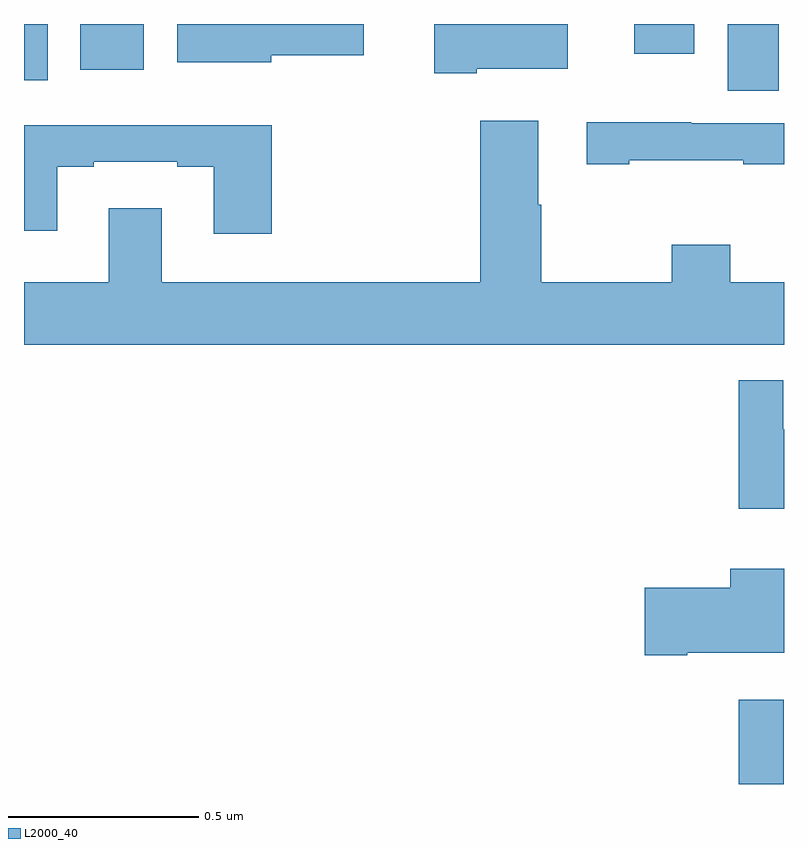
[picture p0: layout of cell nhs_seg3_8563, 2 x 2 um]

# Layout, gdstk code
import gdstk
lib = gdstk.Library(unit=1e-6, precision=1e-09)
def R(c, l, rs):  # rectangles x0, y0, x1, y1
    for r in rs: c.add(gdstk.rectangle(r[:2], r[2:], *l))
def P(c, l, *ps):  # polygons
    for p in ps: c.add(gdstk.Polygon(p, *l))
L2000_40 = (2000, 40)

nhs_seg3_8563 = lib.new_cell('nhs_seg3_8563')
R(nhs_seg3_8563, L2000_40, [(218.881,726.4,218.999,726.622), (218.852,728.224,218.986,728.4), (217,728.252,217.063,728.4), (217.148,728.28,217.315,728.4), (218.606,728.322,218.764,728.4)])
P(nhs_seg3_8563, L2000_40, [(218.191,728.282),(218.431,728.282),(218.431,728.4),(218.079,728.4),(218.079,728.27),(218.191,728.27)],
  [(217.65,728.318),(217.894,728.318),(217.894,728.4),(217.403,728.4),(217.403,728.3),(217.65,728.3)],
  [(219,727.72),(218.859,727.72),(218.859,727.819),(218.704,727.819),(218.704,727.72),(218.361,727.72),(218.361,727.925),(218.353,727.925),(218.353,728.146),(218.201,728.146),(218.201,727.72),(217.363,727.72),(217.363,727.915),(217.223,727.915),(217.223,727.72),(217,727.72),(217,727.556),(219,727.556)],
  [(218.593,728.041),(218.893,728.041),(218.893,728.031),(219,728.031),(219,728.139),(218.756,728.139),(218.756,728.141),(218.481,728.141),(218.481,728.031),(218.593,728.031)],
  [(217.652,728.134),(217,728.134),(217,727.856),(217.087,727.856),(217.087,728.025),(217.183,728.025),(217.183,728.037),(217.403,728.037),(217.403,728.025),(217.499,728.025),(217.499,727.848),(217.652,727.848)],
  [(219,727.334),(218.998,727.334),(218.998,727.462),(218.881,727.462),(218.881,727.124),(219,727.124)],
  [(218.746,726.746),(219,726.746),(219,726.967),(218.858,726.967),(218.858,726.917),(218.634,726.917),(218.634,726.739),(218.746,726.739)])

lib.write_gds('nhs_seg3_8563.gds')
